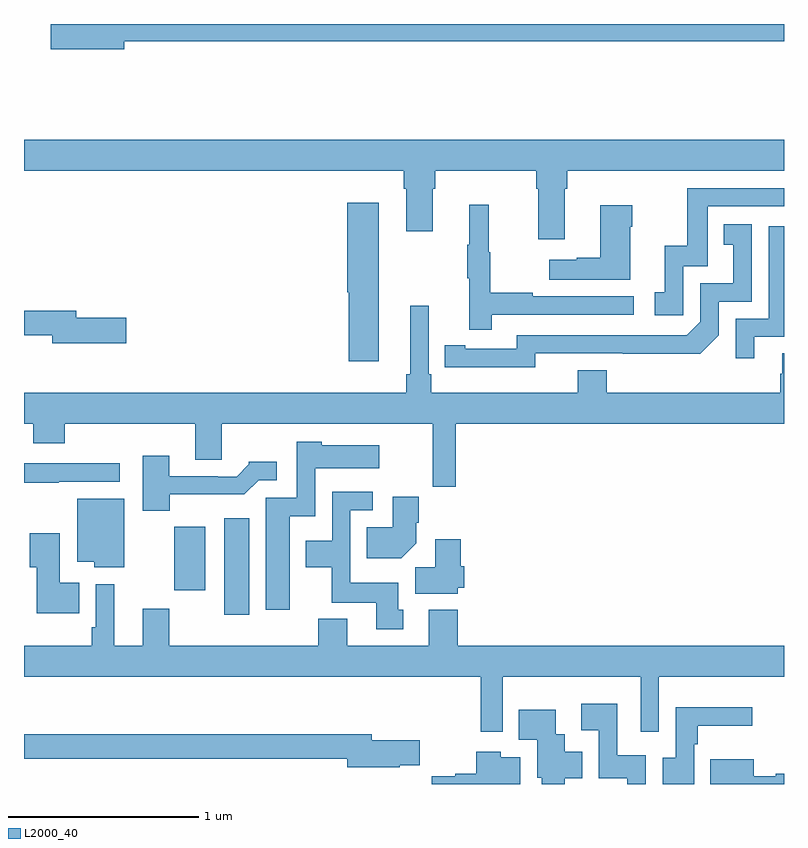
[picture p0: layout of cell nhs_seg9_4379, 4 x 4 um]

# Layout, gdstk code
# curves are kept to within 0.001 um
import gdstk
lib = gdstk.Library(unit=1e-6, precision=1e-09)
def R(c, l, rs):  # rectangles x0, y0, x1, y1
    for r in rs: c.add(gdstk.rectangle(r[:2], r[2:], *l))
def P(c, l, *ps):  # polygons
    for p in ps: c.add(gdstk.Polygon(p, *l))
L2000_40 = (2000, 40)

nhs_seg9_4379 = lib.new_cell('nhs_seg9_4379')
R(nhs_seg9_4379, L2000_40, [(362.054,1219.392,362.185,1219.9)])
P(nhs_seg9_4379, L2000_40, [(361.528,1222.408),(365,1222.408),(365,1222.5),(361.14,1222.5),(361.14,1222.366),(361.528,1222.366)],
  [(363.847,1221.632),(363.86,1221.632),(363.86,1221.728),(365,1221.728),(365,1221.892),(361,1221.892),(361,1221.728),(362.999,1221.728),(362.999,1221.632),(363.011,1221.632),(363.011,1221.408),(363.151,1221.408),(363.151,1221.632),(363.164,1221.632),(363.164,1221.728),(363.695,1221.728),(363.695,1221.632),(363.707,1221.632),(363.707,1221.366),(363.847,1221.366)],
  [(364.47,1221.225),(364.599,1221.225),(364.599,1221.54),(365,1221.54),(365,1221.636),(364.491,1221.636),(364.491,1221.334),(364.373,1221.334),(364.373,1221.087),(364.32,1221.087),(364.32,1220.967),(364.47,1220.967)],
  [(362.866,1221.559),(362.702,1221.559),(362.702,1221.087),(362.708,1221.087),(362.708,1220.724),(362.866,1220.724)],
  [(363.461,1220.97),(364.21,1220.97),(364.21,1221.066),(363.677,1221.066),(363.677,1221.086),(363.454,1221.086),(363.454,1221.3),(363.446,1221.3),(363.446,1221.55),(363.344,1221.55),(363.344,1221.337),(363.333,1221.337),(363.333,1221.163),(363.344,1221.163),(363.344,1220.892),(363.461,1220.892)],
  [(364.192,1221.434),(364.2,1221.434),(364.2,1221.547),(364.034,1221.547),(364.034,1221.269),(363.908,1221.269),(363.908,1221.259),(363.765,1221.259),(363.765,1221.155),(364.192,1221.155)],
  [(363.69,1220.766),(364.558,1220.765),(364.656,1220.862),(364.656,1221.039),(364.83,1221.039),(364.83,1221.445),(364.684,1221.445),(364.684,1221.339),(364.733,1221.339),(364.733,1221.135),(364.56,1221.135),(364.56,1220.934),(364.488,1220.862),(363.594,1220.862),(363.594,1220.79),(363.322,1220.79),(363.322,1220.81),(363.214,1220.81),(363.214,1220.694),(363.69,1220.693)],
  [(364.843,1220.853),(365,1220.853),(365,1221.435),(364.92,1221.435),(364.92,1220.949),(364.746,1220.949),(364.746,1220.742),(364.843,1220.742)],
  [(363.272,1220.396),(365,1220.396),(365,1220.768),(364.991,1220.768),(364.991,1220.658),(364.979,1220.658),(364.979,1220.56),(364.067,1220.56),(364.067,1220.677),(363.914,1220.677),(363.914,1220.56),(363.143,1220.56),(363.143,1220.656),(363.129,1220.656),(363.129,1221.016),(363.032,1221.016),(363.032,1220.656),(363.013,1220.656),(363.013,1220.56),(361,1220.56),(361,1220.396),(361.049,1220.396),(361.049,1220.294),(361.214,1220.294),(361.214,1220.396),(361.901,1220.396),(361.901,1220.206),(362.041,1220.206),(362.041,1220.396),(363.151,1220.396),(363.151,1220.064),(363.272,1220.064)],
  [(361.537,1220.954),(361.276,1220.954),(361.276,1220.99),(361,1220.99),(361,1220.862),(361.148,1220.862),(361.148,1220.819),(361.537,1220.819)],
  [(362.398,1219.91),(362.532,1219.91),(362.532,1220.162),(362.869,1220.162),(362.869,1220.284),(362.568,1220.284),(362.568,1220.302),(362.436,1220.302),(362.436,1220.007),(362.273,1220.007),(362.273,1219.416),(362.398,1219.416)],
  [(361.768,1220.024),(362.159,1220.024),(362.235,1220.1),(362.329,1220.1),(362.329,1220.197),(362.184,1220.197),(362.184,1220.182),(362.12,1220.118),(362.021,1220.118),(362.021,1220.121),(361.765,1220.121),(361.765,1220.227),(361.625,1220.227),(361.625,1219.937),(361.768,1219.937)],
  [(361.184,1220.091),(361.504,1220.091),(361.504,1220.187),(361,1220.187),(361,1220.086),(361.184,1220.086)],
  [(362.995,1219.416),(362.971,1219.416),(362.971,1219.558),(362.718,1219.558),(362.718,1219.941),(362.836,1219.941),(362.836,1220.037),(362.622,1220.037),(362.622,1219.78),(362.483,1219.78),(362.483,1219.64),(362.62,1219.64),(362.62,1219.454),(362.855,1219.454),(362.855,1219.314),(362.995,1219.314)],
  [(363.064,1219.766),(363.064,1219.876),(363.077,1219.876),(363.077,1220.011),(362.942,1220.011),(362.942,1219.852),(362.803,1219.852),(362.803,1219.688),(362.986,1219.688)],
  [(361.528,1220.002),(361.28,1220.002),(361.28,1219.67),(361.37,1219.67),(361.37,1219.64),(361.528,1219.64)],
  [(361.954,1219.855),(361.792,1219.855),(361.792,1219.748),(361.79,1219.748),(361.79,1219.521),(361.954,1219.521)],
  [(361.292,1219.558),(361.189,1219.558),(361.189,1219.819),(361.031,1219.819),(361.031,1219.642),(361.067,1219.642),(361.067,1219.4),(361.292,1219.4)],
  [(363.282,1219.533),(363.317,1219.533),(363.317,1219.647),(363.299,1219.647),(363.299,1219.789),(363.164,1219.789),(363.164,1219.64),(363.059,1219.64),(363.059,1219.502),(363.282,1219.502)],
  [(363.519,1219.064),(364.245,1219.064),(364.245,1218.774),(364.341,1218.774),(364.341,1219.064),(365,1219.064),(365,1219.228),(363.284,1219.228),(363.284,1219.417),(363.131,1219.417),(363.131,1219.228),(362.701,1219.228),(362.701,1219.369),(362.549,1219.369),(362.549,1219.228),(361.765,1219.228),(361.765,1219.423),(361.625,1219.423),(361.625,1219.228),(361.474,1219.228),(361.474,1219.552),(361.377,1219.552),(361.377,1219.324),(361.357,1219.324),(361.357,1219.228),(361,1219.228),(361,1219.064),(363.403,1219.064),(363.403,1218.774),(363.519,1218.774)],
  [(364.272,1218.652),(364.122,1218.652),(364.122,1218.922),(363.933,1218.922),(363.933,1218.782),(364.026,1218.782),(364.026,1218.53),(364.174,1218.53),(364.174,1218.5),(364.272,1218.5)],
  [(364.527,1218.71),(364.547,1218.71),(364.547,1218.806),(364.834,1218.806),(364.834,1218.904),(364.431,1218.904),(364.431,1218.639),(364.361,1218.639),(364.361,1218.5),(364.527,1218.5)],
  [(363.847,1218.53),(363.937,1218.53),(363.937,1218.67),(363.847,1218.67),(363.847,1218.763),(363.798,1218.763),(363.798,1218.892),(363.604,1218.892),(363.604,1218.734),(363.701,1218.734),(363.701,1218.534),(363.725,1218.534),(363.725,1218.5),(363.847,1218.5)],
  [(362.978,1218.599),(363.083,1218.599),(363.083,1218.729),(362.83,1218.729),(362.83,1218.763),(361,1218.763),(361,1218.634),(362.702,1218.634),(362.702,1218.587),(362.978,1218.587)],
  [(363.613,1218.64),(363.508,1218.64),(363.508,1218.67),(363.379,1218.67),(363.379,1218.554),(363.27,1218.554),(363.27,1218.541),(363.145,1218.541),(363.145,1218.5),(363.613,1218.5)],
  [(365,1218.554),(364.956,1218.554),(364.956,1218.541),(364.84,1218.541),(364.84,1218.631),(364.612,1218.631),(364.612,1218.5),(365,1218.5)])

lib.write_gds('nhs_seg9_4379.gds')
